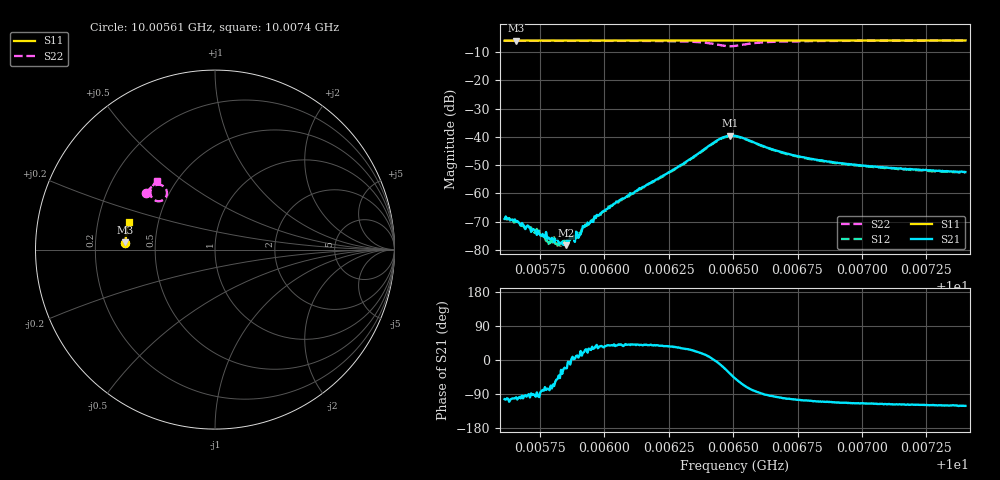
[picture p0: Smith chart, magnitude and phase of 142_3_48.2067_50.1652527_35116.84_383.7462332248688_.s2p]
#  HZ  S  RI  R  50.00
! Rohde & Schwarz Vector Network Analyzer
! Rohde-Schwarz,ZNB20-2Port,1311601062101988,3.16
! Created: UTC 3/20/2024, 11:42:22 AM
! freq[Hz]  re:S11  im:S11  re:S21  im:S21  re:S12  im:S12  re:S22  im:S22
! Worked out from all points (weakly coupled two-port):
!   401 points, 10.00561 GHz to 10.0074 GHz, reference 50 ohm
!   highest |S21| = -39.56 dB at 10.00649 GHz (marker M1); lowest = -78.3 dB at 10.00585 GHz (marker M2)
!   lowest |S11| = -6.0 dB at 10.00566 GHz (marker M3), VSWR 3.01, Z = 16.7 + j1.79 ohm
!   |S11| at or under -10 dB: nowhere
!   |S22| runs from -8.0 to -6.0 dB; largest |S21 - S12| = 0.00064
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1.0005613e10  -0.4995 0.0375  -8.28e-05 -0.000346  -6.28e-05 -0.000356  -0.3852 0.3141
1.0005658e10  -0.4992 0.0404  -4.57e-05 -0.000312  -2.92e-05 -0.000319  -0.3831 0.3169
1.0005743e10  -0.499 0.0459  -2.16e-05 -0.000218  3.31e-05 -0.000198  -0.3788 0.322
1.0005779e10  -0.4987 0.0481  3.86e-05 -0.000153  3.91e-05 -0.000138  -0.3772 0.3243
1.0005805e10  -0.4987 0.05  5.02e-05 -0.000128  0.00011 -0.000127  -0.3756 0.3259
1.0005828e10  -0.4986 0.0515  9.03e-05 -9.96e-05  0.000106 -5.66e-05  -0.3745 0.3276
1.000585e10  -0.4984 0.0529  0.000112 -4.6e-05  0.000136 -2.94e-05  -0.3731 0.3289
1.0005864e10  -0.4984 0.0537  0.000145 -1.39e-05  0.000146 -4.8e-06  -0.3724 0.3297
1.0005899e10  -0.4983 0.0561  0.000163 1.85e-05  0.000173 7.94e-05  -0.3704 0.332
1.0005913e10  -0.4982 0.0569  0.000215 4.42e-05  0.000209 0.000106  -0.3695 0.333
1.0005926e10  -0.498 0.0579  0.000245 0.000126  0.000251 0.000128  -0.3688 0.3337
1.000602e10  -0.4976 0.064  0.000433 0.000344  0.000432 0.000357  -0.3624 0.3402
1.0006042e10  -0.4974 0.0653  0.000534 0.000399  0.000463 0.000417  -0.3608 0.3418
1.0006212e10  -0.4962 0.0763  0.00147 0.00113  0.0014 0.00117  -0.3429 0.3548
1.000644e10  -0.4934 0.0909  0.00871 -0.000997  0.00855 -0.000574  -0.2696 0.3289
1.0006489e10  -0.4928 0.0935  0.00839 -0.00635  0.00851 -0.00575  -0.2822 0.2817
1.0006507e10  -0.4926 0.0944  0.00691 -0.00781  0.00718 -0.00724  -0.2986 0.2718
1.0006574e10  -0.4924 0.0985  0.00154 -0.00808  0.00193 -0.00781  -0.3476 0.2842
1.0006673e10  -0.4916 0.1051  -0.000811 -0.00559  -0.000519 -0.00549  -0.3599 0.318
1.0006807e10  -0.4901 0.1136  -0.00126 -0.00386  -0.00106 -0.00384  -0.3546 0.3416
1.0007106e10  -0.4859 0.1327  -0.00125 -0.00253  -0.00114 -0.00253  -0.3377 0.3674
1.0007401e10  -0.4813 0.1511  -0.00123 -0.00205  -0.00109 -0.00203  -0.322 0.3843
